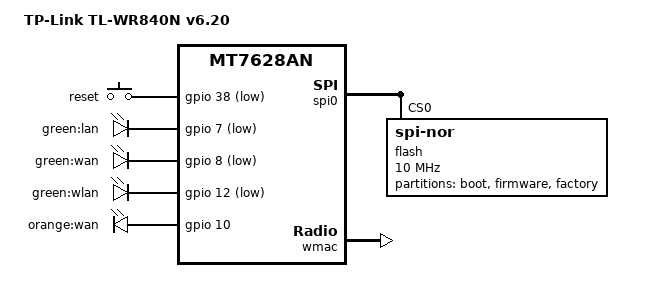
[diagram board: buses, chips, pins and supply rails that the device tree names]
#include "mt7628an.dtsi"

#include <dt-bindings/gpio/gpio.h>
#include <dt-bindings/input/input.h>
#include <dt-bindings/leds/common.h>

/ {
	compatible = "tplink,tl-wr840n-v6", "mediatek,mt7628an-soc";
	model = "TP-Link TL-WR840N v6.20";

        aliases {
                led-boot = &led_wlan;
                led-failsafe = &led_wlan;
                led-upgrade = &led_wlan;
        };

        chosen {
                bootargs = "console=ttyS0,115200";
        };

        keys {
                compatible = "gpio-keys";

                reset {
                        label = "reset";
                        gpios = <&gpio 38 GPIO_ACTIVE_LOW>;
                        linux,code = <KEY_RESTART>;
                };
        };

        leds {
                compatible = "gpio-leds";

                lan {
                        label = "green:lan";
                        gpios = <&gpio 7 GPIO_ACTIVE_LOW>;
                };

                wan_green {
                        label = "green:wan";
                        gpios = <&gpio 8 GPIO_ACTIVE_LOW>;
                };

                led_wlan: wlan {
                        label = "green:wlan";
                        gpios = <&gpio 12 GPIO_ACTIVE_LOW>;
                        linux,default-trigger = "phy0tpt";
                };

                wan_orange {
                        label = "orange:wan";
                        gpios = <&gpio 10 GPIO_ACTIVE_HIGH>;
                };
        };
};
&spi0 {
	status = "okay";

	flash@0 {
		compatible = "jedec,spi-nor";
		reg = <0>;
		spi-max-frequency = <10000000>;

		partitions {
			compatible = "fixed-partitions";
			#address-cells = <1>;
			#size-cells = <1>;

			partition@0 {
				label = "boot";
				reg = <0x0 0x10000>;
				read-only;
			};

			partition@20000 {
				compatible = "tplink,firmware";
				label = "firmware";
				reg = <0x10000 0x7e0000>;
			};

			partition@3f0000 {
				label = "factory";
				reg = <0x7f0000 0x10000>;
				read-only;

				nvmem-layout {
					compatible = "fixed-layout";
					#address-cells = <1>;
					#size-cells = <1>;

					eeprom_factory_0: eeprom@0 {
						reg = <0x0 0x400>;
					};

					macaddr_factory_f100: macaddr@f100 {
						reg = <0xf100 0x6>;
					};
				};
			};
		};
	};
};

&ehci {
	status = "disabled";
};

&ohci {
	status = "disabled";
};

&wmac {
	status = "okay";

	nvmem-cells = <&eeprom_factory_0>, <&macaddr_factory_f100>;
	nvmem-cell-names = "eeprom", "mac-address";
};

&ethernet {
	nvmem-cells = <&macaddr_factory_f100>;
	nvmem-cell-names = "mac-address";
};

&esw {
	mediatek,portmap = <0x3e>;
};

&state_default {
	gpio {
		groups = "p0led_an", "p2led_an", "perst";
		function = "gpio";
	};
};

